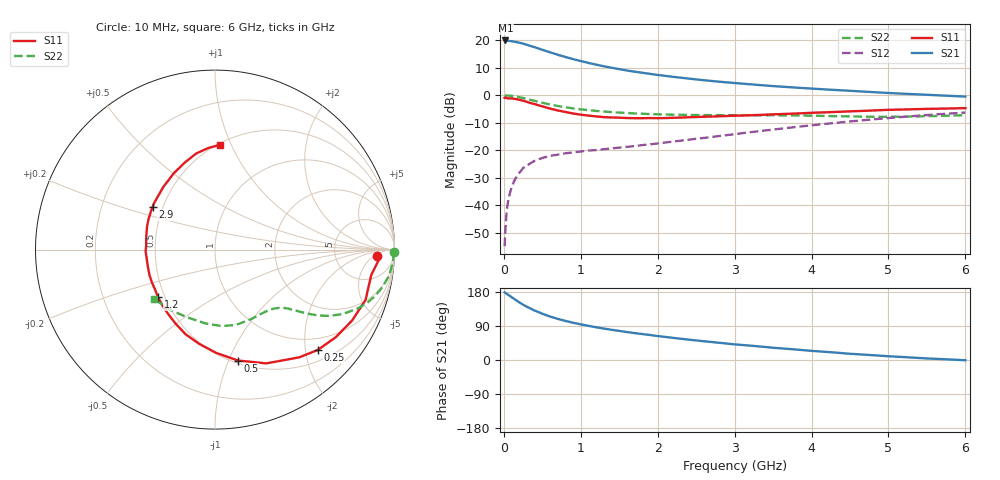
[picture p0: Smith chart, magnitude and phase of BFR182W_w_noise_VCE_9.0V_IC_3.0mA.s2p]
! Infineon Technologies  Discrete & RF Semiconductors
! BFR182W
! VCE =  9.0 V,  IC =  3.0 mA
! Common Emitter S-Parameters:  Jan 2017
# GHz  S  MA  R  50
!  f  S11  S21  S12  S22
! GHz  MAG  ANG  MAG  ANG  MAG  ANG  MAG  ANG
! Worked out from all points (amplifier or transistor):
!   77 points, 10 MHz to 6 GHz, reference 50 ohm
!   highest |S21| = 20.0 dB at 20 MHz (marker M1)
!   |S21| within 3 dB of that: start of sweep to 457.1 MHz
!   unconditionally stable (mu >= 1): 1.596 GHz to 3.003 GHz
!   at 130 MHz: K = 0.11, MSG = 25.5 dB, |S12| = -31.5 dB
!   at 2.2 GHz: K = 1.07, MAG = 10.2 dB, |S12| = -16.8 dB
!   at 6 GHz: K = 0.81, MSG = 2.9 dB, |S12| = -6.2 dB
!   lowest NFmin = 0.82 dB at 450 MHz
!   S11 on the Smith chart (normalised r, x): 10 MHz: 17, -6; 250 MHz: 0.73, -2.26; 500 MHz: 0.53, -1.08; 1.2 GHz: 0.46, -0.29; 2.9 GHz: 0.44, +0.25; 6 GHz: 0.51, +0.91
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0.01  0.9016 -2.1  9.924 178.4  0.0018 94.1  1 -0.9
0.02  0.9127 -3.8  9.983 177.2  0.0035 95.7  0.9961 -1.8
0.04  0.8914 -7.4  9.903 174.3  0.0083 85.7  0.9937 -3.5
0.06  0.8807 -11.1  9.822 171.5  0.0127 83.0  0.9897 -5.3
0.15  0.8601 -27.3  9.411 159.0  0.0306 75.1  0.9553 -12.7
0.25  0.8004 -44.3  8.748 146.0  0.0474 66.7  0.8954 -19.6
0.3  0.7619 -52.0  8.32 140.4  0.0529 63.1  0.8599 -22.4
0.4  0.695 -65.8  7.534 130.4  0.0643 57.3  0.795 -26.9
0.5  0.6312 -78.3  6.747 122.1  0.0726 53.4  0.7341 -30.2
0.6  0.5754 -89.4  6.084 114.8  0.0792 50.6  0.6833 -32.5
0.7  0.5318 -99.7  5.485 108.6  0.0833 49.1  0.6414 -34.1
0.8  0.4995 -109.1  4.999 103.1  0.0882 48.2  0.6079 -35.4
0.9  0.4682 -117.7  4.566 98.4  0.0916 47.2  0.5796 -36.4
1.1  0.4282 -133.0  3.897 90.2  0.0987 47.7  0.5379 -38.2
1.2  0.4142 -140.0  3.623 86.4  0.1011 47.9  0.5212 -39.0
1.6  0.3868 -164.2  2.836 73.7  0.1156 51.1  0.4781 -42.9
2.1  0.3864 172.6  2.263 60.9  0.1387 55.7  0.4483 -49.8
2.9  0.4209 145.7  1.724 43.4  0.1891 59.4  0.4355 -63.6
3.1  0.43 140.0  1.634 39.6  0.2048 59.4  0.4342 -67.3
4.1  0.4866 117.0  1.303 22.7  0.2947 56.1  0.4238 -87.2
5.1  0.5493 99.6  1.087 8.8  0.3966 47.7  0.4078 -115.1
6  0.5854 87.0  0.95 -0.6  0.4871 37.8  0.4367 -141.0
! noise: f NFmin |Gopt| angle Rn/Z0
0.45  0.82  0.39  31  0.2
0.9  0.95  0.3  57  0.2
1.9  1.6  0.25  149  0.12
2.4  1.92  0.23  170  0.17
